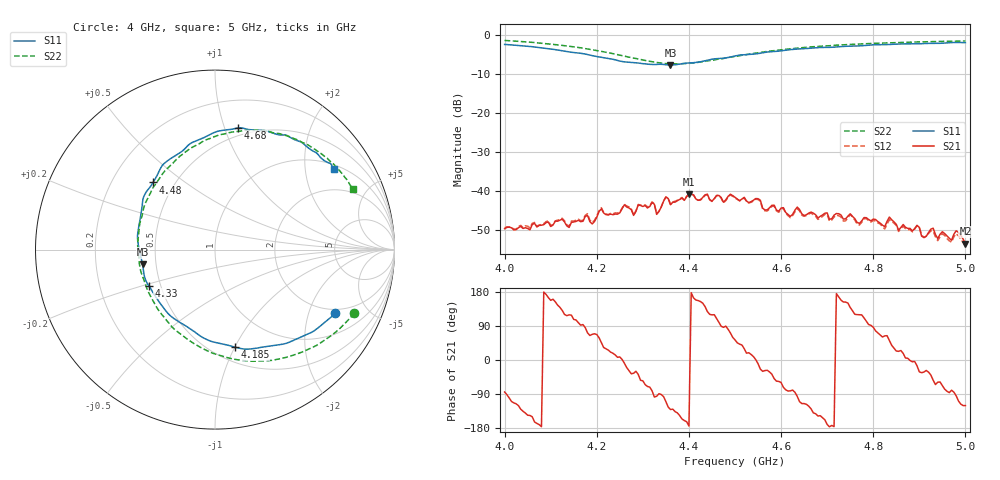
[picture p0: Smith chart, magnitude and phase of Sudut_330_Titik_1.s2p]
# Hz S RI R 50
! CMT, C1220, 16058040, 17.2.0/1
! Date: 15/08/2018 11:36:54
! Data: Format (Calibration Info)
! Freq  S11: Re/Im (F2)  S21: Re/Im (F2)  S12: Re/Im (F2)  S22: Re/Im (F2)
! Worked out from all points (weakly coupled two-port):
!   201 points, 4 GHz to 5 GHz, reference 50 ohm
!   highest |S21| = -40.74 dB at 4.4 GHz (marker M1); lowest = -53.4 dB at 5 GHz (marker M2)
!   lowest |S11| = -7.7 dB at 4.36 GHz (marker M3), VSWR 2.40, Z = 21 - j4.11 ohm
!   |S11| at or under -10 dB: nowhere
!   |S22| runs from -7.4 to -1.4 dB; largest |S21 - S12| = 0.00035
!   S11 on the Smith chart (normalised r, x): 4 GHz: 1.80, -3.02; 4.185 GHz: 0.64, -1.00; 4.33 GHz: 0.43, -0.21; 4.48 GHz: 0.38, +0.38; 4.68 GHz: 0.43, +1.11; 5 GHz: 1.14, +2.83
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4e9  0.6693 -0.3557  0.000324 -0.0033  0.000501 -0.00337  0.7755 -0.3526
4.17e9  0.1642 -0.5543  -0.000248 0.00412  -0.000246 0.00426  0.2762 -0.6197
4.185e9  0.1106 -0.5434  0.00174 0.00369  0.0018 0.00387  0.2121 -0.6222
4.26e9  -0.1729 -0.4189  0.00663 -0.000989  0.00676 -0.000994  -0.1174 -0.5237
4.28e9  -0.2462 -0.3708  0.00403 -0.00281  0.00406 -0.00287  -0.1981 -0.4654
4.32e9  -0.3487 -0.2339  0.00108 -0.00708  0.00102 -0.00723  -0.331 -0.311
4.33e9  -0.37 -0.2002  -0.000502 -0.00504  -0.000577 -0.00509  -0.3547 -0.2688
4.335e9  -0.3803 -0.1829  0.000101 -0.00553  -2.07e-05 -0.00555  -0.3668 -0.2455
4.35e9  -0.3978 -0.1236  -0.00285 -0.0079  -0.00297 -0.00793  -0.395 -0.1719
4.36e9  -0.4037 -0.0813  -0.00439 -0.0051  -0.00443 -0.00516  -0.4123 -0.1256
4.4e9  -0.4313 0.0842  -0.00913 -0.000934  -0.00919 -0.000742  -0.4266 0.0746
4.48e9  -0.3449 0.3743  8.92e-05 0.00777  0.000276 0.0076  -0.3015 0.4093
4.5e9  -0.3072 0.4453  0.00504 0.00669  0.00499 0.00647  -0.2469 0.4702
4.67e9  0.1106 0.6737  -0.00399 -0.00341  -0.00384 -0.00323  0.2471 0.6637
4.68e9  0.13 0.6782  -0.00385 -0.00242  -0.0037 -0.00231  0.2712 0.6603
4.75e9  0.2859 0.6614  -0.00386 0.0034  -0.00381 0.00326  0.4315 0.6216
4.825e9  0.4254 0.6214  0.00156 0.00316  0.00149 0.00293  0.566 0.5519
4.835e9  0.4443 0.612  0.00293 0.00364  0.00265 0.00342  0.5807 0.5415
4.855e9  0.4765 0.6011  0.00292 0.00123  0.00282 0.00118  0.6107 0.5191
4.97e9  0.6388 0.4821  0.00042 -0.00232  0.000381 -0.0022  0.742 0.3799
4.98e9  0.6457 0.4767  -0.000239 -0.00311  -0.000242 -0.00284  0.7493 0.3654
5e9  0.6607 0.4495  -0.00108 -0.00185  -0.000941 -0.00174  0.7676 0.3388
